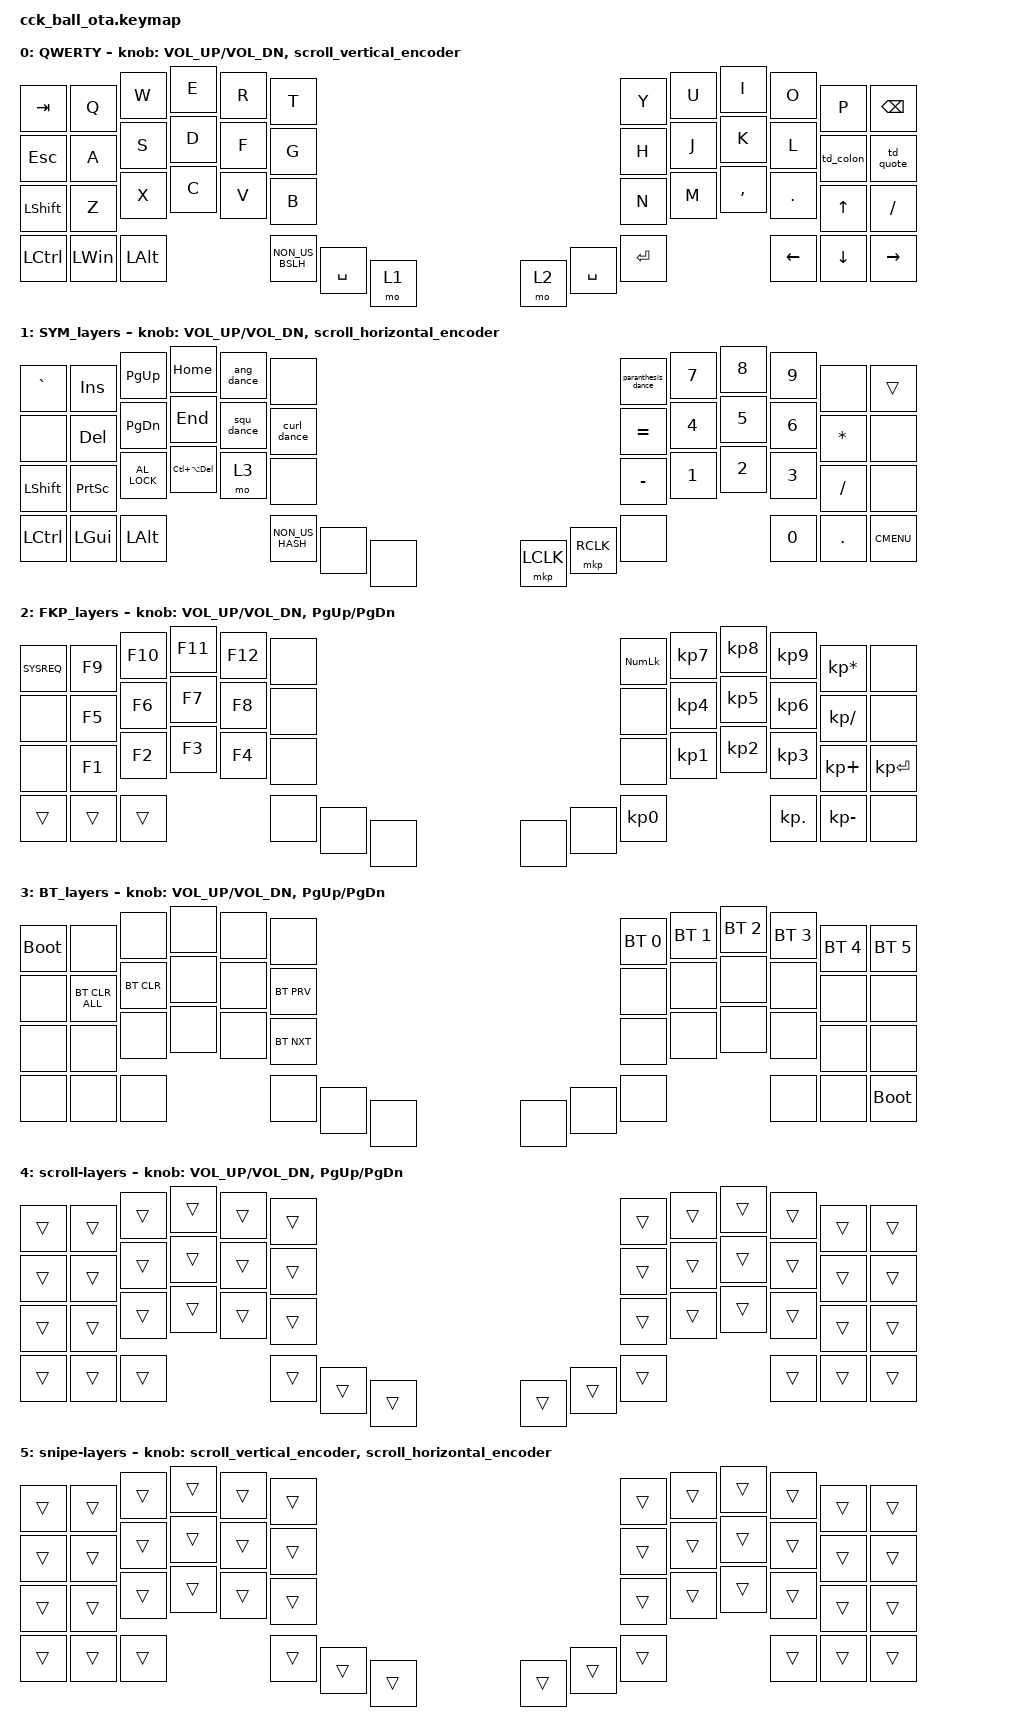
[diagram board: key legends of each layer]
#define ZMK_POINTING_DEFAULT_MOVE_VAL 1000 // 600
#define ZMK_POINTING_DEFAULT_SCRL_VAL 12   // 10

#include <input/processors.dtsi>
#include <zephyr/dt-bindings/input/input-event-codes.h>
#include <behaviors.dtsi>
#include <dt-bindings/zmk/bt.h>
#include <dt-bindings/zmk/keys.h>
#include <dt-bindings/zmk/pointing.h>

&mmv_input_listener { input-processors = <&zip_xy_scaler 2 1>; };

&msc_input_listener { input-processors = <&zip_scroll_scaler 2 1>; };

&msc {
    acceleration-exponent = <0>;      // 0
    time-to-max-speed-ms = <300>;       // 300
    delay-ms = <0>;                   // 0
};

&mmv {
    time-to-max-speed-ms = <500>;
    acceleration-exponent = <1>;
    trigger-period-ms = <16>;
};

&soft_off { hold-time-ms = <2000>; };

/ {
    // Vertical scroll encoder behavior
    scroll_vertical_encoder: scroll_vertical_encoder {
        compatible = "zmk,behavior-sensor-rotate";
        #sensor-binding-cells = <0>;
        bindings = <&msc SCRL_DOWN>, <&msc SCRL_UP>;
        tap-ms = <100>;
    };

    // Horizontal scroll encoder behavior
    scroll_horizontal_encoder: scroll_horizontal_encoder {
        compatible = "zmk,behavior-sensor-rotate";
        #sensor-binding-cells = <0>;
        bindings = <&msc SCRL_LEFT>, <&msc SCRL_RIGHT>;
        tap-ms = <100>;
    };
    
    behaviors {
        td_colon: td_colon {
            compatible = "zmk,behavior-tap-dance";
            #binding-cells = <0>;
            tapping-term-ms = <200>;
            bindings = <&kp SEMI>, <&kp COLON>;    
            
        };
        td_quote: td_quote {
            compatible = "zmk,behavior-tap-dance";
            #binding-cells = <0>;
            tapping-term-ms = <200>;
            bindings = <&kp SQT>, <&kp DQT>, <&kp AT>;
            
        };
        paranthesis_dance: paranthesis_dance {
            compatible = "zmk,behavior-tap-dance";
            #binding-cells = <0>;
            tapping-term-ms = <200>;
            bindings = <&ocpar>, <&kp LPAR>, <&kp RPAR>;
        };
        curl_dance: curl_dance {
            compatible = "zmk,behavior-tap-dance";
            #binding-cells = <0>;
            tapping-term-ms = <200>;
            bindings = <&occurl>, <&kp LBRC>, <&kp RBRC>;
        };
        squ_dance: squ_dance {
            compatible = "zmk,behavior-tap-dance";
            #binding-cells = <0>;
            tapping-term-ms = <200>;
            bindings = <&ocsqu>, <&kp LBKT>, <&kp RBKT>;
        };
        ang_dance: ang_dance {
            compatible = "zmk,behavior-tap-dance";
            #binding-cells = <0>;
            tapping-term-ms = <200>;
            bindings = <&ocang>, <&kp LT>, <&kp GT>;
        };
    };

    macros {
        ocpar: ocpar {
            compatible = "zmk,behavior-macro";
            #binding-cells = <0>;
            bindings
                = <&macro_tap &kp LPAR &kp RPAR &kp LEFT_ARROW>
                ;
        };
        occurl: occurl {
            compatible = "zmk,behavior-macro";
            #binding-cells = <0>;
            bindings
                = <&macro_tap &kp LBRC &kp RBRC &kp LEFT_ARROW>
                ;
        };
        ocsqu: ocsqu {
            compatible = "zmk,behavior-macro";
            #binding-cells = <0>;
            bindings
                = <&macro_tap &kp LBKT &kp RBKT &kp LEFT_ARROW>
                ;
        };
        ocang: ocang {
            compatible = "zmk,behavior-macro";
            #binding-cells = <0>;
            bindings
                = <&macro_tap &kp LT &kp GT &kp LEFT_ARROW>
                ;
        };
    };
    
    keymap {
        compatible = "zmk,keymap";

        QWERTY {
            bindings = <
&kp TAB     &kp Q         &kp W         &kp E            &kp R      &kp T   &kp Y   &kp U      &kp I      &kp O           &kp P           &kp BSPC
&kp ESC     &kp A         &kp S         &kp D            &kp F      &kp G   &kp H   &kp J      &kp K      &kp L           &td_colon       &td_quote
&kp LSHIFT  &kp Z         &kp X         &kp C            &kp V      &kp B   &kp N   &kp M      &kp COMMA  &kp DOT         &kp UP_ARROW    &kp FSLH
&kp LCTRL   &kp LWIN      &kp LALT      &kp NON_US_BSLH  &kp SPACE  &mo 1   &mo 2   &kp SPACE  &kp ENTER  &kp LEFT_ARROW  &kp DOWN_ARROW  &kp RIGHT_ARROW
            >;

            sensor-bindings = <&inc_dec_kp C_VOL_UP C_VOL_DN &scroll_vertical_encoder>;
        };

        SYM_layers {
            bindings = <
&kp GRAVE   &kp INS   &kp PG_UP      &kp HOME          &ang_dance   &none        &paranthesis_dance     &kp N7      &kp N8   &kp N9   &none      &trans
&none       &kp DEL   &kp PG_DN      &kp END           &squ_dance   &curl_dance  &kp EQUAL              &kp N4      &kp N5   &kp N6   &kp STAR   &none
&kp LSHIFT  &kp PSCRN &kp C_AL_LOCK  &kp LC(LA(DEL))   &mo 3        &none        &kp MINUS              &kp N1      &kp N2   &kp N3   &kp FSLH   &none
&kp LCTRL   &kp LGUI  &kp LALT       &kp NON_US_HASH   &none        &none        &mkp LCLK              &mkp RCLK  &none   &kp N0   &kp DOT    &kp K_CMENU
            >;

            sensor-bindings = <&inc_dec_kp C_VOL_UP C_VOL_DN &scroll_horizontal_encoder>;
        };

        FKP_layers {
            bindings = <
&kp SYSREQ  &kp F9          &kp F10       &kp F11       &kp F12      &none        &kp KP_NUM   &kp KP_N7  &kp KP_N8  &kp KP_N9     &kp KP_MULTIPLY  &none
&none       &kp F5          &kp F6        &kp F7        &kp F8       &none        &none        &kp KP_N4  &kp KP_N5  &kp KP_N6     &kp KP_SLASH     &none
&none       &kp F1          &kp F2        &kp F3        &kp F4       &none        &none        &kp KP_N1  &kp KP_N2  &kp KP_N3     &kp KP_PLUS      &kp KP_ENTER
&trans      &trans          &trans        &none         &none        &none        &none        &none      &kp KP_N0  &kp KP_DOT    &kp KP_MINUS     &none
            >;

            sensor-bindings = <&inc_dec_kp C_VOL_UP C_VOL_DN &inc_dec_kp PG_UP PG_DN>;
        };

        BT_layers {
            bindings = <
&bootloader  &none           &none         &none        &none        &none        &bt BT_SEL 0    &bt BT_SEL 1  &bt BT_SEL 2 &bt BT_SEL 3 &bt BT_SEL 4 &bt BT_SEL 5
&none        &bt BT_CLR_ALL  &bt BT_CLR    &none        &none        &bt BT_PRV   &none           &none         &none        &none        &none        &none
&none        &none           &none         &none        &none        &bt BT_NXT   &none           &none         &none        &none        &none        &none
&none        &none           &none         &none        &none        &none        &none           &none         &none        &none        &none        &bootloader
            >;

            sensor-bindings = <&inc_dec_kp C_VOL_UP C_VOL_DN &inc_dec_kp PG_UP PG_DN>;
        };

        scroll-layers {
            bindings = <
&trans  &trans  &trans  &trans  &trans  &trans  &trans  &trans  &trans  &trans  &trans  &trans
&trans  &trans  &trans  &trans  &trans  &trans  &trans  &trans  &trans  &trans  &trans  &trans
&trans  &trans  &trans  &trans  &trans  &trans  &trans  &trans  &trans  &trans  &trans  &trans
&trans  &trans  &trans  &trans  &trans  &trans  &trans  &trans  &trans  &trans  &trans  &trans
            >;

            sensor-bindings = <&inc_dec_kp C_VOL_UP C_VOL_DN &inc_dec_kp PG_UP PG_DN>;
        };

        snipe-layers {
            bindings = <
&trans  &trans  &trans  &trans  &trans  &trans  &trans  &trans  &trans  &trans  &trans  &trans
&trans  &trans  &trans  &trans  &trans  &trans  &trans  &trans  &trans  &trans  &trans  &trans
&trans  &trans  &trans  &trans  &trans  &trans  &trans  &trans  &trans  &trans  &trans  &trans
&trans  &trans  &trans  &trans  &trans  &trans  &trans  &trans  &trans  &trans  &trans  &trans
            >;

            sensor-bindings = <&scroll_vertical_encoder>,   // Encoder 1: vertical scroll
                             <&scroll_horizontal_encoder>;  // Encoder 2: horizontal scroll
        };
    };
};
